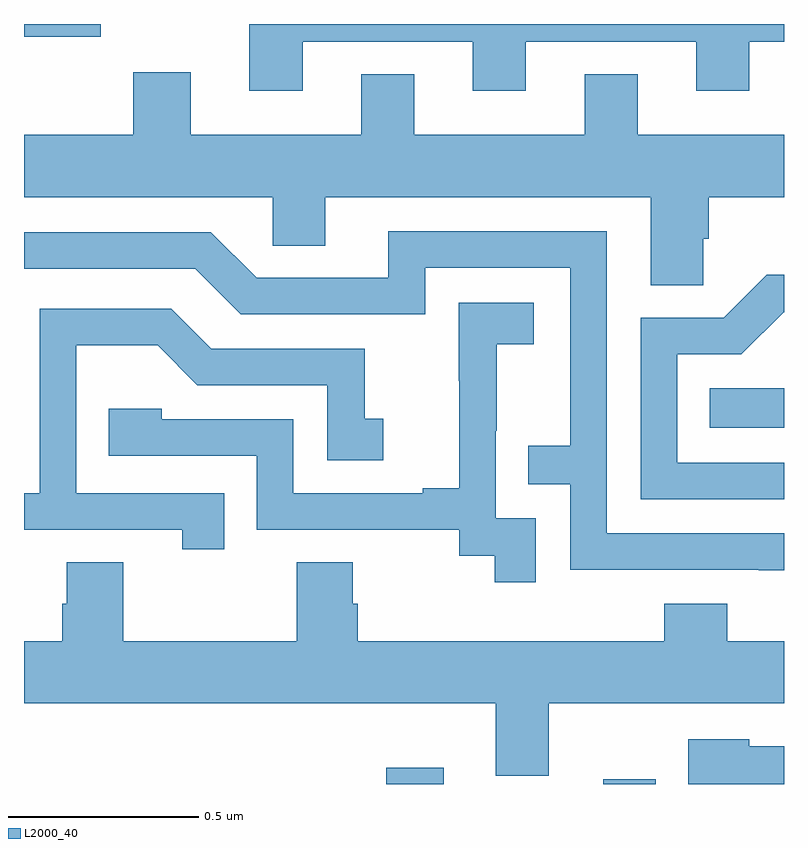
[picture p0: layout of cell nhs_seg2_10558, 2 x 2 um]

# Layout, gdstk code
import gdstk
lib = gdstk.Library(unit=1e-6, precision=1e-09)
def R(c, l, rs):  # rectangles x0, y0, x1, y1
    for r in rs: c.add(gdstk.rectangle(r[:2], r[2:], *l))
def P(c, l, *ps):  # polygons
    for p in ps: c.add(gdstk.Polygon(p, *l))
L2000_40 = (2000, 40)

nhs_seg2_10558 = lib.new_cell('nhs_seg2_10558')
R(nhs_seg2_10558, L2000_40, [(243.953,604.8,244.105,604.843), (244.524,604.8,244.663,604.813), (244.804,605.738,245,605.842), (243,606.767,243.202,606.8)])
P(nhs_seg2_10558, L2000_40, [(243.733,606.753),(244.181,606.753),(244.181,606.624),(244.321,606.624),(244.321,606.753),(244.769,606.753),(244.769,606.624),(244.909,606.624),(244.909,606.753),(245,606.753),(245,606.8),(243.593,606.8),(243.593,606.624),(243.733,606.624)],
  [(244.788,606.235),(244.802,606.235),(244.802,606.344),(245,606.344),(245,606.508),(244.615,606.508),(244.615,606.668),(244.475,606.668),(244.475,606.508),(244.027,606.508),(244.027,606.668),(243.887,606.668),(243.887,606.508),(243.439,606.508),(243.439,606.673),(243.287,606.673),(243.287,606.508),(243,606.508),(243,606.344),(243.654,606.344),(243.654,606.217),(243.793,606.217),(243.793,606.344),(244.649,606.344),(244.649,606.112),(244.788,606.112)],
  [(245,605.46),(244.533,605.46),(244.533,606.255),(243.959,606.255),(243.959,606.132),(243.612,606.132),(243.492,606.252),(243,606.252),(243,606.156),(243.45,606.156),(243.57,606.036),(244.056,606.036),(244.056,606.159),(244.437,606.159),(244.437,605.69),(244.327,605.69),(244.327,605.589),(244.437,605.589),(244.437,605.364),(244.933,605.364),(244.933,605.363),(245,605.363)],
  [(245,605.646),(244.719,605.646),(244.719,605.931),(244.888,605.931),(244.999,606.042),(245,606.042),(245,606.14),(244.955,606.14),(244.842,606.027),(244.623,606.027),(244.623,605.55),(245,605.55)],
  [(244.347,605.499),(244.242,605.499),(244.242,605.729),(244.244,605.729),(244.244,605.957),(244.342,605.957),(244.342,606.067),(244.144,606.067),(244.144,605.861),(244.145,605.861),(244.145,605.578),(244.049,605.578),(244.049,605.565),(243.708,605.565),(243.708,605.76),(243.363,605.76),(243.363,605.787),(243.223,605.787),(243.223,605.664),(243.612,605.664),(243.612,605.469),(244.146,605.469),(244.146,605.401),(244.239,605.401),(244.239,605.331),(244.347,605.331)],
  [(243.527,605.565),(243.138,605.565),(243.138,605.954),(243.352,605.954),(243.456,605.85),(243.798,605.85),(243.798,605.652),(243.946,605.652),(243.946,605.761),(243.897,605.761),(243.897,605.946),(243.493,605.946),(243.388,606.051),(243.042,606.051),(243.042,605.565),(243,605.565),(243,605.469),(243.416,605.469),(243.416,605.418),(243.527,605.418)],
  [(244.381,605.012),(245,605.012),(245,605.176),(244.85,605.176),(244.85,605.275),(244.685,605.275),(244.685,605.176),(243.878,605.176),(243.878,605.274),(243.865,605.274),(243.865,605.384),(243.718,605.384),(243.718,605.176),(243.261,605.176),(243.261,605.384),(243.113,605.384),(243.113,605.274),(243.101,605.274),(243.101,605.176),(243,605.176),(243,605.012),(244.241,605.012),(244.241,604.822),(244.381,604.822)],
  [(245,604.9),(244.908,604.9),(244.908,604.918),(244.748,604.918),(244.748,604.8),(245,604.8)])

lib.write_gds('nhs_seg2_10558.gds')
